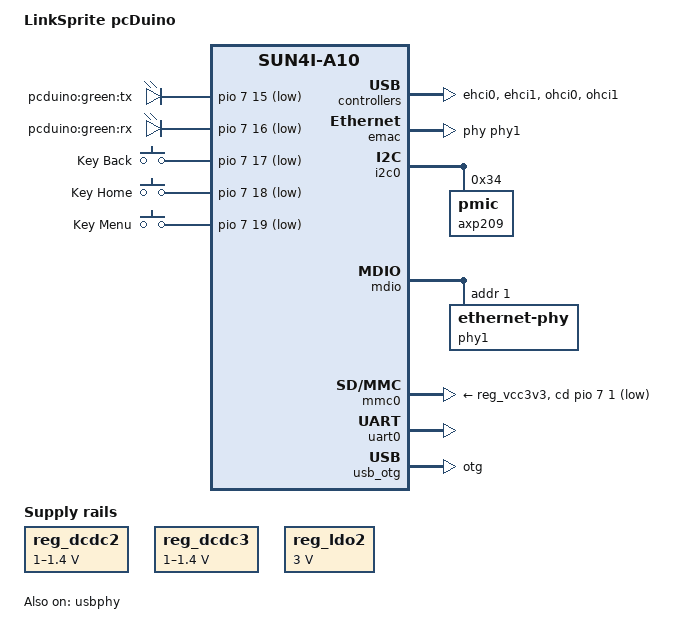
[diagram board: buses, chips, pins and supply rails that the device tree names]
FASTVC-BENCH-CORPUS:linux-main-100k-v1-e0bd41dc-8e12-4f1b-978d-a3645ae59da0
/*
 * Copyright 2014 Zoltan HERPAI
 * Zoltan HERPAI <wigyori@uid0.hu>
 *
 * This file is dual-licensed: you can use it either under the terms
 * of the GPL or the X11 license, at your option. Note that this dual
 * licensing only applies to this file, and not this project as a
 * whole.
 *
 *  a) This file is free software; you can redistribute it and/or
 *     modify it under the terms of the GNU General Public License as
 *     published by the Free Software Foundation; either version 2 of the
 *     License, or (at your option) any later version.
 *
 *     This file is distributed in the hope that it will be useful,
 *     but WITHOUT ANY WARRANTY; without even the implied warranty of
 *     MERCHANTABILITY or FITNESS FOR A PARTICULAR PURPOSE.  See the
 *     GNU General Public License for more details.
 *
 * Or, alternatively,
 *
 *  b) Permission is hereby granted, free of charge, to any person
 *     obtaining a copy of this software and associated documentation
 *     files (the "Software"), to deal in the Software without
 *     restriction, including without limitation the rights to use,
 *     copy, modify, merge, publish, distribute, sublicense, and/or
 *     sell copies of the Software, and to permit persons to whom the
 *     Software is furnished to do so, subject to the following
 *     conditions:
 *
 *     The above copyright notice and this permission notice shall be
 *     included in all copies or substantial portions of the Software.
 *
 *     THE SOFTWARE IS PROVIDED "AS IS", WITHOUT WARRANTY OF ANY KIND,
 *     EXPRESS OR IMPLIED, INCLUDING BUT NOT LIMITED TO THE WARRANTIES
 *     OF MERCHANTABILITY, FITNESS FOR A PARTICULAR PURPOSE AND
 *     NONINFRINGEMENT. IN NO EVENT SHALL THE AUTHORS OR COPYRIGHT
 *     HOLDERS BE LIABLE FOR ANY CLAIM, DAMAGES OR OTHER LIABILITY,
 *     WHETHER IN AN ACTION OF CONTRACT, TORT OR OTHERWISE, ARISING
 *     FROM, OUT OF OR IN CONNECTION WITH THE SOFTWARE OR THE USE OR
 *     OTHER DEALINGS IN THE SOFTWARE.
 */

/dts-v1/;
#include "sun4i-a10.dtsi"
#include "sunxi-common-regulators.dtsi"

#include <dt-bindings/gpio/gpio.h>
#include <dt-bindings/input/input.h>

/ {
	model = "LinkSprite pcDuino";
	compatible = "linksprite,a10-pcduino", "allwinner,sun4i-a10";

	aliases {
		serial0 = &uart0;
	};

	chosen {
		stdout-path = "serial0:115200n8";
	};
/* bench 22230.1.0 646ecfa8091e */
/* bench 22230.1.1 6e82c13c5a18 */
/* bench 22230.1.2 0fa3eef8dd28 */
/* bench 22230.1.3 95a18fbc82dd */
/* bench 22230.1.4 dcc77c367a5f */
/* bench 22230.1.5 dd708ec2341d */
/* bench 22230.1.6 c89af17434f2 */
/* bench 22230.1.7 ded562efb883 */
/* bench 22230.1.8 26ecf6769f83 */
/* bench 22230.1.9 ff7cac416cdb */
/* bench 22230.1.10 536caacb8a1b */
	leds {
		compatible = "gpio-leds";

		led-0 {
			label = "pcduino:green:tx";
			gpios = <&pio 7 15 GPIO_ACTIVE_LOW>;
		};

		led-1 {
			label = "pcduino:green:rx";
			gpios = <&pio 7 16 GPIO_ACTIVE_LOW>;
		};
	};

	gpio-keys {
		compatible = "gpio-keys";

		back {
			label = "Key Back";
			linux,code = <KEY_BACK>;
			gpios = <&pio 7 17 GPIO_ACTIVE_LOW>;
		};

		home {
			label = "Key Home";
			linux,code = <KEY_HOME>;
			gpios = <&pio 7 18 GPIO_ACTIVE_LOW>;
		};

		menu {
			label = "Key Menu";
			linux,code = <KEY_MENU>;
			gpios = <&pio 7 19 GPIO_ACTIVE_LOW>;
		};
	};
};

&cpu0 {
	cpu-supply = <&reg_dcdc2>;
};

&ehci0 {
	status = "okay";
};

&ehci1 {
	status = "okay";
};

&emac {
	phy-handle = <&phy1>;
	status = "okay";
};

&emac_sram {
	status = "okay";
};

&i2c0 {
	status = "okay";

	axp209: pmic@34 {
		reg = <0x34>;
		interrupts = <0>;
	};
};

&mdio {
	status = "okay";

	phy1: ethernet-phy@1 {
		reg = <1>;
	};
};

&mmc0 {
	vmmc-supply = <&reg_vcc3v3>;
/* bench 7237.1.0 4ff9c575414c */
/* bench 7237.1.1 c221ee8bf3e7 */
/* bench 7237.1.2 429957bca736 */
/* bench 7237.1.3 6c3f2eff84a2 */
/* bench 7237.1.4 c25af8f69aa5 */
/* bench 7237.1.5 d333eb68e14d */
/* bench 7237.1.6 1415cc325ab6 */
/* bench 7237.1.7 e8c860c8dbbb */
/* bench 7237.1.8 5ca2ba13cc98 */
	cd-gpios = <&pio 7 1 GPIO_ACTIVE_LOW>; /* PH1 */
	status = "okay";
};

&ohci0 {
	status = "okay";
};

&ohci1 {
	status = "okay";
};

&otg_sram {
	status = "okay";
};

#include "axp209.dtsi"

&reg_dcdc2 {
	regulator-always-on;
	regulator-min-microvolt = <1000000>;
	regulator-max-microvolt = <1400000>;
	regulator-name = "vdd-cpu";
};

&reg_dcdc3 {
	regulator-always-on;
	regulator-min-microvolt = <1000000>;
	regulator-max-microvolt = <1400000>;
	regulator-name = "vdd-int-dll";
};

&reg_ldo1 {
	regulator-name = "vdd-rtc";
};

&reg_ldo2 {
	regulator-always-on;
	regulator-min-microvolt = <3000000>;
	regulator-max-microvolt = <3000000>;
	regulator-name = "avcc";
};

&uart0 {
	pinctrl-names = "default";
	pinctrl-0 = <&uart0_pb_pins>;
	status = "okay";
};
/* bench 18235.2.0 db7aec9b552b */
/* bench 18235.2.1 bd8bc9e56ee7 */
/* bench 18235.2.2 343faf7711d0 */
/* bench 18235.2.3 742b0d4597e7 */
/* bench 18235.2.4 6313d23b5101 */
/* bench 18235.2.5 a9010bd8dee0 */
/* bench 18235.2.6 701157290854 */
/* bench 18235.2.7 48c49aa71a46 */
/* bench 18235.2.8 eb6cadc6dbe3 */
/* bench 18235.2.9 97fe76080e8d */
/* bench 18235.2.10 04add9225ebe */
/* bench 18235.2.11 f225ec472e62 */
/* bench 18235.2.12 d8e02e787b3c */
/* bench 18235.2.13 f46f9fb9850d */
/* bench 18235.2.14 c669bcfb6630 */
/* bench 18235.2.15 fc757f357bd0 */

&usb_otg {
	dr_mode = "otg";
	status = "okay";
};

&usbphy {
	usb0_id_det-gpios = <&pio 7 4 (GPIO_ACTIVE_HIGH | GPIO_PULL_UP)>; /* PH4 */
	usb1_vbus-supply = <&reg_vcc5v0>; /* USB1 VBUS is always on */
	usb2_vbus-supply = <&reg_vcc5v0>; /* USB2 VBUS is always on */
	status = "okay";
};
